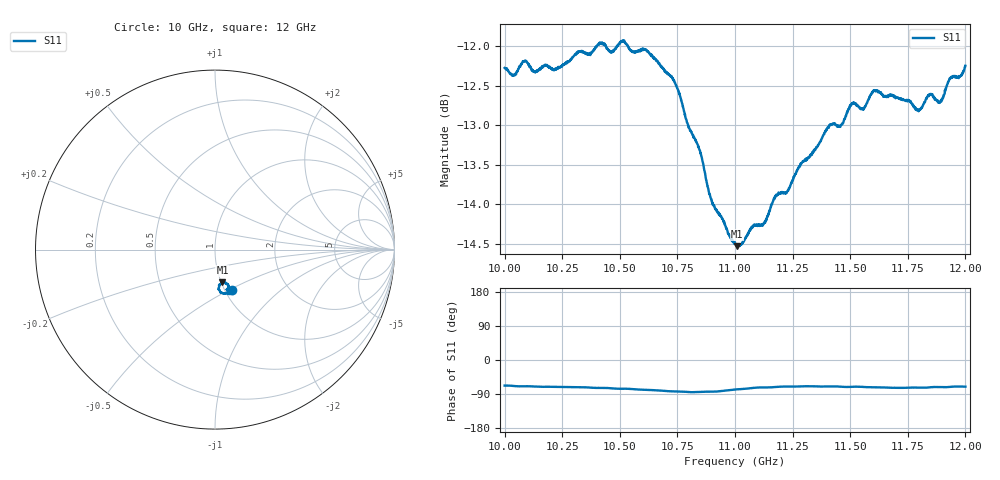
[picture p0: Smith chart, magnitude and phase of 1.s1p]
[Version] 2.0
! Rohde & Schwarz Vector Network Analyzer
! Rohde-Schwarz,ZNL20-2Port,1323001220200009,1.71.1.10-23.02.1.238
! Port Assignments:
! Nominal Port -> Actual Test Port
!  1 -> 1
! Created: GMT 2024-09-04 14:19:09
# Hz S DB R 50
[Number of Ports] 1
! freq[Hz]  S11[mag dB]  S11[ang]
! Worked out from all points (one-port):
!   2001 points, 10 GHz to 12 GHz, reference 50 ohm
!   lowest |S11| = -14.5 dB at 11.01 GHz (marker M1), VSWR 1.46, Z = 50.6 - j19.2 ohm
!   |S11| at or under -10 dB: start of sweep to end of sweep
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[Number of Frequencies] 28
[Network Data]
1e10  -12.28 -67.6
1.004e10  -12.37 -68.5
1.0087e10  -12.19 -69.4
1.0151e10  -12.29 -70.8
1.025e10  -12.24 -71.0
1.0413e10  -11.96 -73.6
1.0463e10  -12.09 -74.7
1.05e10  -11.96 -75.9
1.0618e10  -12.06 -78.8
1.075e10  -12.54 -83.1
1.0819e10  -13.15 -85.1
1.0851e10  -13.35 -84.3
1.0904e10  -13.99 -83.5
1.1e10  -14.48 -77.9
1.101e10  -14.53 -77.3
1.1099e10  -14.27 -72.6
1.125e10  -13.69 -70.4
1.1406e10  -13.02 -69.9
1.146e10  -13.00 -70.4
1.15e10  -12.74 -71.0
1.1557e10  -12.79 -71.1
1.1609e10  -12.56 -71.9
1.175e10  -12.69 -73.2
1.1794e10  -12.80 -73.0
1.1847e10  -12.61 -72.0
1.189e10  -12.71 -71.5
1.1933e10  -12.41 -70.9
1.2e10  -12.25 -70.3
[End]
